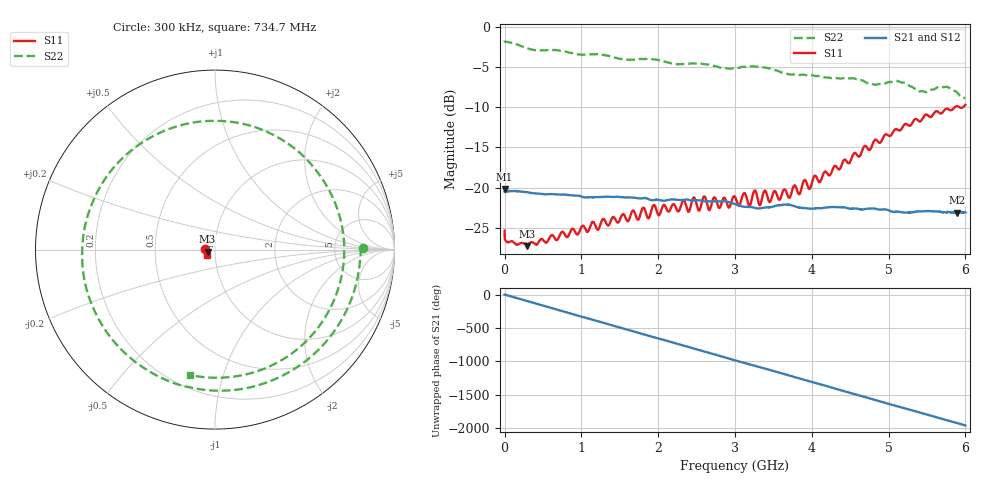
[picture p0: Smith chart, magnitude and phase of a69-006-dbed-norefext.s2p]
!  3/17/2021  10:16:04
! Ref Plane: 0.000 mm
# MHZ S MA R  50
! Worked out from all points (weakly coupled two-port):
!   10001 points, 300 kHz to 6 GHz, reference 50 ohm
!   highest |S21| = -20.17 dB at 300 kHz (marker M1); lowest = -23.1 dB at 5.896 GHz (marker M2)
!   lowest |S11| = -27.3 dB at 289.5 MHz (marker M3), VSWR 1.09, Z = 46 - j1.07 ohm
!   |S11| at or under -10 dB: start of sweep to 5.86 GHz; 5.926 GHz to 5.966 GHz (40.55 MHz wide, 0.682 % of centre)
!   |S22| runs from -8.9 to -1.7 dB; largest |S21 - S12| = 0.0018
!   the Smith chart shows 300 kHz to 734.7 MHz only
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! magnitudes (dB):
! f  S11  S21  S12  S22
! 300 kHz  -25.4  -20.2  -20.3  -1.7
! 289.5 MHz  -27.3  -20.6  -20.6  -2.6
! 1 GHz  -24.9  -21.1  -21.1  -3.4
! 1.738 GHz  -24.0  -21.3  -21.3  -4.0
! 1.805 GHz  -22.5  -21.3  -21.4  -4.0
! 1.874 GHz  -23.8  -21.5  -21.4  -4.0
! 1.943 GHz  -22.2  -21.6  -21.5  -4.0
! 2.001 GHz  -23.4  -21.5  -21.5  -4.1
! 2.464 GHz  -21.2  -21.6  -21.6  -4.5
! 2.532 GHz  -22.9  -21.6  -21.6  -4.5
! 2.598 GHz  -21.1  -21.7  -21.7  -4.6
! 2.667 GHz  -22.8  -21.7  -21.8  -4.7
! 3 GHz  -21.2  -22.1  -22.1  -5.1
! 3.19 GHz  -22.3  -22.4  -22.5  -4.9
! 3.259 GHz  -20.4  -22.5  -22.5  -4.9
! 3.324 GHz  -22.2  -22.6  -22.6  -4.9
! 3.387 GHz  -20.4  -22.5  -22.5  -5.0
! 3.579 GHz  -21.5  -22.2  -22.2  -5.5
! 4 GHz  -19.5  -22.6  -22.6  -6.0
! 5 GHz  -13.5  -22.8  -22.8  -6.8
! 5.896 GHz  -9.8  -23.1  -23.1  -8.2
! 6 GHz  -9.7  -23.1  -23.1  -8.9
